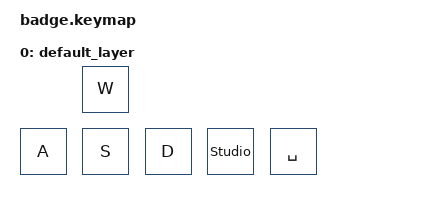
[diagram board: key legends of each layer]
#include <behaviors.dtsi>
#include <dt-bindings/zmk/keys.h>

/ {
    keymap {
        compatible = "zmk,keymap";

        default_layer { // Layer 0

            bindings = <
                &kp A
                &kp S
                &kp W
                &kp D    
                &kp SPACE
                &studio_unlock
            >;
        };
    };
 };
